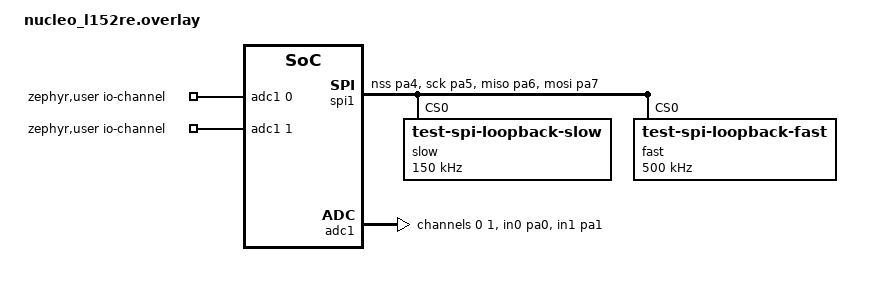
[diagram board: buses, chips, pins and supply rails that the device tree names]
/*
 * Copyright (c) 2022 Kumar Gala <galak@kernel.org>
 *
 * SPDX-License-Identifier: Apache-2.0
 */

tst_dma0: &dma1 {};

&spi1 {
	pinctrl-0 = <&spi1_nss_pa4 &spi1_sck_pa5
		     &spi1_miso_pa6 &spi1_mosi_pa7>;
	pinctrl-names = "default";
	dmas = <&dma1 3 (STM32_DMA_PERIPH_TX | STM32_DMA_PRIORITY_HIGH)>,
	       <&dma1 2 (STM32_DMA_PERIPH_RX | STM32_DMA_PRIORITY_HIGH)>;
	dma-names = "tx", "rx";
	status = "okay";
	slow@0 {
		compatible = "test-spi-loopback-slow";
		reg = <0>;
		spi-max-frequency = <150000>;
	};
	fast@0 {
		compatible = "test-spi-loopback-fast";
		reg = <0>;
		spi-max-frequency = <500000>;
	};
};

&dma1 {
	status = "okay";
};

/ {
	zephyr,user {
		io-channels = <&adc1 0>, <&adc1 1>;
	};
};

&adc1 {
	dmas = <&dma1 1 (STM32_DMA_PERIPH_RX | STM32_DMA_MEM_16BITS | STM32_DMA_PERIPH_16BITS)>;
	dma-names = "dma";
	pinctrl-0 = <&adc_in0_pa0 &adc_in1_pa1>;
	#address-cells = <1>;
	#size-cells = <0>;
	channel@0 {
		reg = <0>;
		zephyr,gain = "ADC_GAIN_1";
		zephyr,reference = "ADC_REF_INTERNAL";
		zephyr,acquisition-time = <ADC_ACQ_TIME_MAX>;
		zephyr,resolution = <12>;
	};
	channel@1 {
		reg = <1>;
		zephyr,gain = "ADC_GAIN_1";
		zephyr,reference = "ADC_REF_INTERNAL";
		zephyr,acquisition-time = <ADC_ACQ_TIME_MAX>;
		zephyr,resolution = <12>;
	};
};
